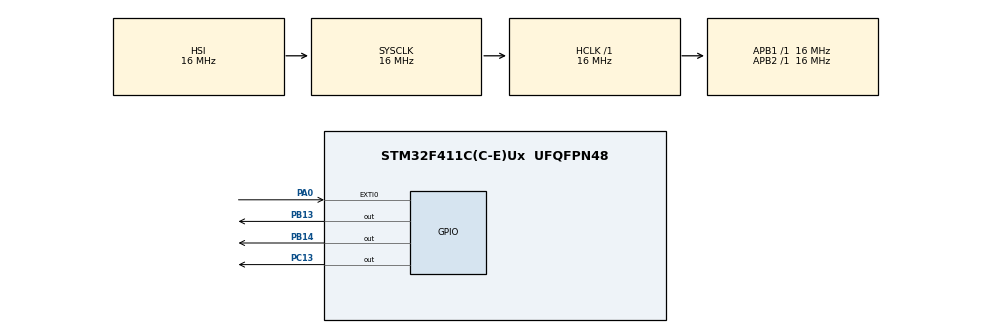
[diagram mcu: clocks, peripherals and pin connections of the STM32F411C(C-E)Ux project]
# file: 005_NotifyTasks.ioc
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Mcu.Family=STM32F4
Mcu.Name=STM32F411C(C-E)Ux
Mcu.Package=UFQFPN48
NVIC.PriorityGroup=NVIC_PRIORITYGROUP_4
NVIC.TIM2_IRQn=true\:15\:0\:false\:false\:true\:false\:true\:true
NVIC.TimeBase=TIM2_IRQn
NVIC.TimeBaseIP=TIM2
PA0-WKUP.GPIO_PuPd=GPIO_PULLUP
PA0-WKUP.Signal=GPXTI0
PB13.Signal=GPIO_Output
PB14.Signal=GPIO_Output
PC13-ANTI_TAMP.Signal=GPIO_Output
ProjectManager.HeapSize=0x200
ProjectManager.StackSize=0x400
ProjectManager.TargetToolchain=STM32CubeIDE
RCC.AHBFreq_Value=16000000
RCC.APB1Freq_Value=16000000
RCC.APB2Freq_Value=16000000
RCC.CortexFreq_Value=16000000
RCC.HSE_VALUE=25000000
RCC.HSI_VALUE=16000000
RCC.LSE_VALUE=32768
RCC.SYSCLKFreq_VALUE=16000000
RCC.VCOOutputFreq_Value=192000000
VP_SYS_VS_tim2.Mode=TIM2
board=custom

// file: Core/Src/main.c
/* USER CODE BEGIN Header */
/**
  ******************************************************************************
  * @file           : main.c
  * @brief          : Main program body
  ******************************************************************************
  * @attention
  *
  * Copyright (c) 2025 STMicroelectronics.
  * All rights reserved.
  *
  * This software is licensed under terms that can be found in the LICENSE file
  * in the root directory of this software component.
  * If no LICENSE file comes with this software, it is provided AS-IS.
  *
  ******************************************************************************
  */
/* USER CODE END Header */
#include "main.h"

/* USER CODE BEGIN Includes */
#include <stdio.h>
#include "FreeRTOS.h"
#include "task.h"
/* USER CODE END Includes */

/* USER CODE BEGIN PV */
#define DWT_CTRL   ( *(volatile uint32_t*) 0xE0001000 )
/* USER CODE END PV */

void SystemClock_Config(void);
static void MX_GPIO_Init(void);
/* USER CODE BEGIN PFP */
static void led1_handler(void* parameters);
static void led2_handler(void* parameters);
static void led3_handler(void* parameters);
static void btn_handler(void* parameters);

TaskHandle_t task1_handler, task2_handler, task3_handler, btn_task_handler;
TaskHandle_t volatile next_task_handler = NULL;
/* USER CODE END PFP */

int main(void)
{

  /* USER CODE BEGIN 1 */
	BaseType_t status;
  /* USER CODE END 1 */

  /* MCU Configuration--------------------------------------------------------*/

  /* Reset of all peripherals, Initializes the Flash interface and the Systick. */
  HAL_Init();

  /* Configure the system clock */
  SystemClock_Config();

  /* Initialize all configured peripherals */
  MX_GPIO_Init();
  /* USER CODE BEGIN 2 */
  //enable the cycle count//
  DWT_CTRL |= (1 << 0);

  //calling the APIs to start recording
  SEGGER_SYSVIEW_Conf();
  SEGGER_SYSVIEW_Start();

  status = xTaskCreate(led1_handler, "Task - 1", configMINIMAL_STACK_SIZE * 2, "Executing task - 1", 3, &task1_handler);
  configASSERT(status == pdPASS);
  next_task_handler = task1_handler;

  status = xTaskCreate(led2_handler, "Task - 2", configMINIMAL_STACK_SIZE * 2, "Executing task - 2", 2, &task2_handler);
  configASSERT(status == pdPASS);

  status = xTaskCreate(led3_handler, "Task - 3", configMINIMAL_STACK_SIZE * 2, "Executing task - 3", 1, &task3_handler);
  configASSERT(status == pdPASS);

  status = xTaskCreate(btn_handler, "Button Task", configMINIMAL_STACK_SIZE * 2, "Executing button task", 4, &btn_task_handler);
  configASSERT(status == pdPASS);

  //Starting the FreeRTOS Scheduler//
  vTaskStartScheduler();
  //if the control comes here then the launch of the scheduler has failed due to insufficient
  //memory in heap

  /* USER CODE END 2 */

  /* Infinite loop */
  while (1)
  {

  }
}

void SystemClock_Config(void)
{
  RCC_OscInitTypeDef RCC_OscInitStruct = {0};
  RCC_ClkInitTypeDef RCC_ClkInitStruct = {0};

  /** Configure the main internal regulator output voltage
  */
  __HAL_RCC_PWR_CLK_ENABLE();
  __HAL_PWR_VOLTAGESCALING_CONFIG(PWR_REGULATOR_VOLTAGE_SCALE1);

  /** Initializes the RCC Oscillators according to the specified parameters
  * in the RCC_OscInitTypeDef structure.
  */
  RCC_OscInitStruct.OscillatorType = RCC_OSCILLATORTYPE_HSI;
  RCC_OscInitStruct.HSIState = RCC_HSI_ON;
  RCC_OscInitStruct.HSICalibrationValue = RCC_HSICALIBRATION_DEFAULT;
  RCC_OscInitStruct.PLL.PLLState = RCC_PLL_NONE;
  if (HAL_RCC_OscConfig(&RCC_OscInitStruct) != HAL_OK)
  {
    Error_Handler();
  }

  /** Initializes the CPU, AHB and APB buses clocks
  */
  RCC_ClkInitStruct.ClockType = RCC_CLOCKTYPE_HCLK|RCC_CLOCKTYPE_SYSCLK
                              |RCC_CLOCKTYPE_PCLK1|RCC_CLOCKTYPE_PCLK2;
  RCC_ClkInitStruct.SYSCLKSource = RCC_SYSCLKSOURCE_HSI;
  RCC_ClkInitStruct.AHBCLKDivider = RCC_SYSCLK_DIV1;
  RCC_ClkInitStruct.APB1CLKDivider = RCC_HCLK_DIV1;
  RCC_ClkInitStruct.APB2CLKDivider = RCC_HCLK_DIV1;

  if (HAL_RCC_ClockConfig(&RCC_ClkInitStruct, FLASH_LATENCY_0) != HAL_OK)
  {
    Error_Handler();
  }
}

static void MX_GPIO_Init(void)
{
  GPIO_InitTypeDef GPIO_InitStruct = {0};

  /* GPIO Ports Clock Enable */
  __HAL_RCC_GPIOC_CLK_ENABLE();
  __HAL_RCC_GPIOA_CLK_ENABLE();
  __HAL_RCC_GPIOB_CLK_ENABLE();

  /*Configure GPIO pin Output Level */
  HAL_GPIO_WritePin(GPIOC, GPIO_PIN_13, GPIO_PIN_RESET);

  /*Configure GPIO pin Output Level */
  HAL_GPIO_WritePin(GPIOB, GPIO_PIN_13|GPIO_PIN_14, GPIO_PIN_RESET);

  /*Configure GPIO pin : PC13 */
  GPIO_InitStruct.Pin = GPIO_PIN_13;
  GPIO_InitStruct.Mode = GPIO_MODE_OUTPUT_PP;
  GPIO_InitStruct.Pull = GPIO_NOPULL;
  GPIO_InitStruct.Speed = GPIO_SPEED_FREQ_LOW;
  HAL_GPIO_Init(GPIOC, &GPIO_InitStruct);

  /*Configure GPIO pin : PA0 */
  GPIO_InitStruct.Pin = GPIO_PIN_0;
  GPIO_InitStruct.Mode = GPIO_MODE_IT_FALLING;
  GPIO_InitStruct.Pull = GPIO_PULLUP;
  HAL_GPIO_Init(GPIOA, &GPIO_InitStruct);

  /*Configure GPIO pins : PB13 PB14 */
  GPIO_InitStruct.Pin = GPIO_PIN_13|GPIO_PIN_14;
  GPIO_InitStruct.Mode = GPIO_MODE_OUTPUT_PP;
  GPIO_InitStruct.Pull = GPIO_NOPULL;
  GPIO_InitStruct.Speed = GPIO_SPEED_FREQ_LOW;
  HAL_GPIO_Init(GPIOB, &GPIO_InitStruct);

}

/* USER CODE BEGIN 4 */
static void led1_handler(void* parameters)
{
	BaseType_t status;
	while(1)
	{
		SEGGER_SYSVIEW_PrintfTarget("Toggling the on-board LED");
		HAL_GPIO_TogglePin(GPIOC, GPIO_PIN_13);
		status = xTaskNotifyWait(0, 0, NULL, pdMS_TO_TICKS(1000));
		if(status == pdTRUE)
		{
			vTaskSuspendAll();
			next_task_handler = task2_handler;
			xTaskResumeAll();
			HAL_GPIO_WritePin(GPIOC, GPIO_PIN_13, 0);
			SEGGER_SYSVIEW_PrintfTarget("Delete the Task-1");
			vTaskDelete(NULL);
		}
	}
}
static void led2_handler(void* parameters)
{
	BaseType_t status;
	while(1)
	{
		SEGGER_SYSVIEW_PrintfTarget("Toggling PB13 pin");
		HAL_GPIO_TogglePin(GPIOB, GPIO_PIN_13);
		status = xTaskNotifyWait(0, 0, NULL, pdMS_TO_TICKS(800));
		if(status == pdTRUE)
		{
			vTaskSuspendAll();
			next_task_handler = task3_handler;
			xTaskResumeAll();
			HAL_GPIO_WritePin(GPIOB, GPIO_PIN_13, 1);
			SEGGER_SYSVIEW_PrintfTarget("Delete the Task-2");
			vTaskDelete(NULL);
		}
	}
}

static void led3_handler(void* parameters)
{
	BaseType_t status;
	while(1)
	{
		SEGGER_SYSVIEW_PrintfTarget("Toggling PB14 pin");
		HAL_GPIO_TogglePin(GPIOB, GPIO_PIN_14);
		status = xTaskNotifyWait(0, 0, NULL, pdMS_TO_TICKS(400));
		if(status == pdTRUE)
		{
			vTaskSuspendAll();
			next_task_handler = NULL;
			xTaskResumeAll();
			HAL_GPIO_WritePin(GPIOB, GPIO_PIN_14, 1);
			SEGGER_SYSVIEW_PrintfTarget("Delete the button Task");
			vTaskDelete(btn_task_handler);
			SEGGER_SYSVIEW_PrintfTarget("Delete the Task-3");
			vTaskDelete(NULL);
		}
	}
}

static void btn_handler(void* parameters)
{
	uint8_t read = 0, prev_read = 0;
	while(1)
	{
		read = (HAL_GPIO_ReadPin(GPIOA, GPIO_PIN_0) == GPIO_PIN_RESET);
		if(read)
		{
			if(!prev_read) //checks for short and long presses//
			{
				SEGGER_SYSVIEW_PrintfTarget("Button pressed at startup!");

				xTaskNotify(next_task_handler, 0, eNoAction);
			}
		}
		prev_read = read;
		vTaskDelay(pdMS_TO_TICKS(10));
	}
}

/* USER CODE END 4 */

void HAL_TIM_PeriodElapsedCallback(TIM_HandleTypeDef *htim)
{
  if (htim->Instance == TIM2)
  {
    HAL_IncTick();
  }
}

void Error_Handler(void)
{
  __disable_irq();
  while (1)
  {
  }
}
